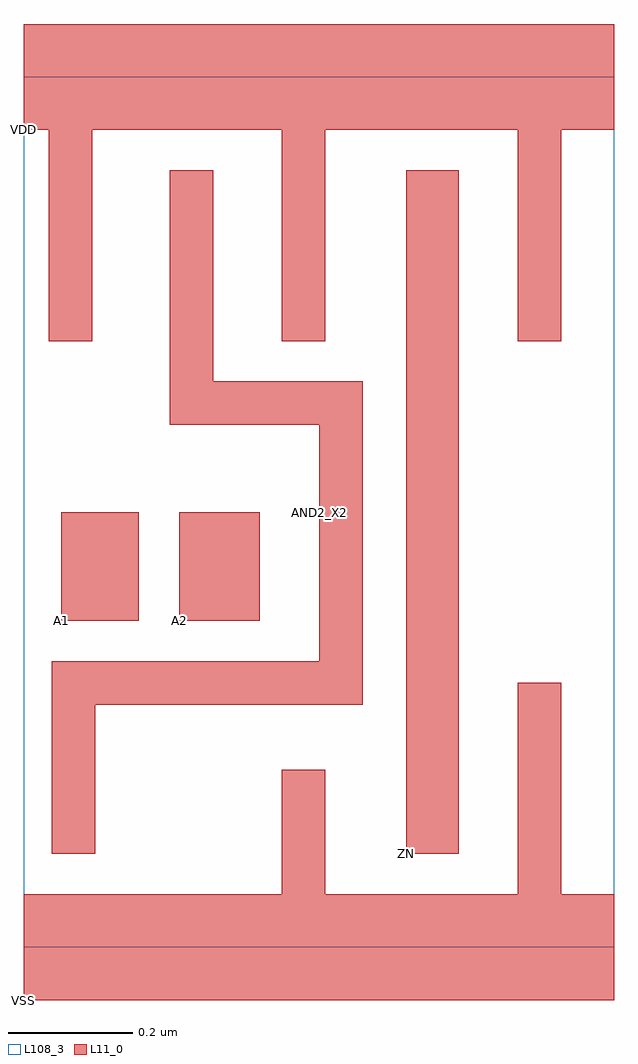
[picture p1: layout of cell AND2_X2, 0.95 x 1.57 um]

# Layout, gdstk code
import gdstk
lib = gdstk.Library(unit=1e-6, precision=1e-09)
def R(c, l, rs):  # rectangles x0, y0, x1, y1
    for r in rs: c.add(gdstk.rectangle(r[:2], r[2:], *l))
def P(c, l, *ps):  # polygons
    for p in ps: c.add(gdstk.Polygon(p, *l))
L11_0 = (11, 0)
L108_3 = (108, 3)

and2_x2 = lib.new_cell('AND2_X2')
R(and2_x2, L11_0, [(0.615,0.15,0.7,1.25), (0.06,0.525,0.185,0.7), (0.25,0.525,0.38,0.7)])
P(and2_x2, L11_0, [(0,1.315),(0.04,1.315),(0.04,0.975),(0.11,0.975),(0.11,1.315),(0.415,1.315),(0.415,0.975),(0.485,0.975),(0.485,1.315),(0.545,1.315),(0.795,1.315),(0.795,0.975),(0.865,0.975),(0.865,1.315),(0.95,1.315),(0.95,1.485),(0.545,1.485),(0,1.485)],
  [(0,-0.085),(0.95,-0.085),(0.95,0.085),(0.865,0.085),(0.865,0.425),(0.795,0.425),(0.795,0.085),(0.485,0.085),(0.485,0.285),(0.415,0.285),(0.415,0.085),(0,0.085)],
  [(0.235,0.84),(0.475,0.84),(0.475,0.46),(0.045,0.46),(0.045,0.15),(0.115,0.15),(0.115,0.39),(0.545,0.39),(0.545,0.91),(0.305,0.91),(0.305,1.25),(0.235,1.25)])
R(and2_x2, L108_3, [(0,0,0.95,1.4)])
and2_x2.add(gdstk.Label('AND2_X2', (0.475,0.7), layer=108, texttype=3))
and2_x2.add(gdstk.Label('A1', (0.06,0.525), layer=11, texttype=0))
and2_x2.add(gdstk.Label('A2', (0.25,0.525), layer=11, texttype=0))
and2_x2.add(gdstk.Label('ZN', (0.615,0.15), layer=11, texttype=0))
and2_x2.add(gdstk.Label('VDD', (0,1.315), layer=11, texttype=0))
and2_x2.add(gdstk.Label('VSS', (0,-0.085), layer=11, texttype=0))

lib.write_gds('AND2_X2.gds')
